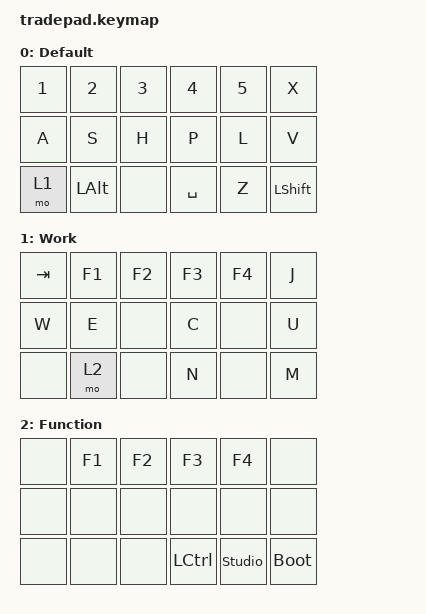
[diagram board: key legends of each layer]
#include <behaviors.dtsi>
#include <dt-bindings/zmk/keys.h>
#include <dt-bindings/zmk/bt.h>

/ {
    keymap {
        compatible = "zmk,keymap";

        // Слой 0: основной
        default_layer {
            display-name = "Default";
            bindings = <
                &kp N1    &kp N2      &kp N3    &kp N4      &kp N5    &kp X
                &kp A     &kp S       &kp H     &kp P       &kp L     &kp V
                &mo 1     &kp LALT    &none     &kp SPACE   &kp Z     &kp LSHFT
            >;
        };

        work_layer {
            display-name = "Work";
            bindings = <
                &kp TAB    &kp F1    &kp F2   &kp F3    &kp F4    &kp J
                &kp W      &kp E     &none    &kp C     &none     &kp U
                &none      &mo 2     &none    &kp N     &none     &kp M
            >;
        };

        function_layer {
            display-name = "Function";
            bindings = <
                &none    &kp F1    &kp F2   &kp F3     &kp F4            &none
                &none    &none     &none    &none      &none             &none
                &none    &none     &none    &kp LCTRL  &studio_unlock    &bootloader 
            >;
        };
    };
};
